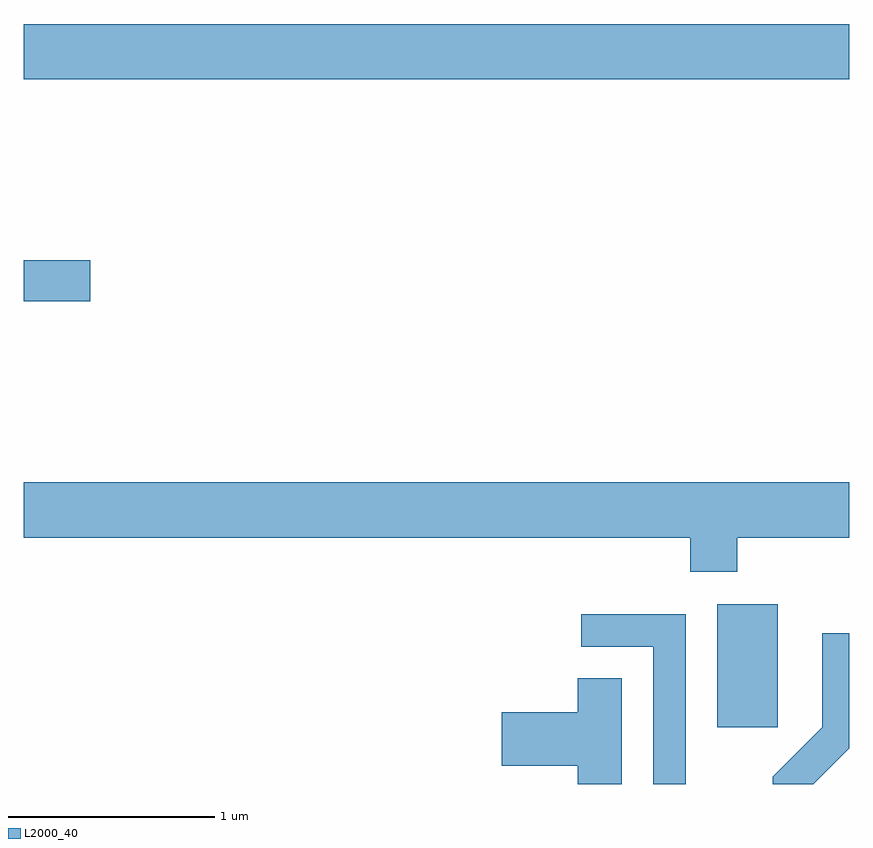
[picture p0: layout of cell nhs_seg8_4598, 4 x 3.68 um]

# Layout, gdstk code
import gdstk
lib = gdstk.Library(unit=1e-6, precision=1e-09)
def R(c, l, rs):  # rectangles x0, y0, x1, y1
    for r in rs: c.add(gdstk.rectangle(r[:2], r[2:], *l))
def P(c, l, *ps):  # polygons
    for p in ps: c.add(gdstk.Polygon(p, *l))
L2000_40 = (2000, 40)

nhs_seg8_4598 = lib.new_cell('nhs_seg8_4598')
R(nhs_seg8_4598, L2000_40, [(326.971,1826.616,327.264,1827.214), (323.611,1828.681,323.934,1828.879), (323.611,1829.756,327.611,1830.024)])
P(nhs_seg8_4598, L2000_40, [(327.069,1827.536),(327.611,1827.536),(327.611,1827.804),(323.611,1827.804),(323.611,1827.536),(326.841,1827.536),(326.841,1827.371),(327.069,1827.371)],
  [(326.819,1827.164),(326.313,1827.164),(326.313,1827.006),(326.661,1827.006),(326.661,1826.342),(326.819,1826.342)],
  [(327.611,1826.516),(327.611,1827.073),(327.481,1827.073),(327.481,1826.617),(327.241,1826.377),(327.241,1826.342),(327.437,1826.342)],
  [(326.509,1826.854),(326.296,1826.854),(326.296,1826.689),(325.926,1826.689),(325.926,1826.431),(326.296,1826.431),(326.296,1826.342),(326.509,1826.342)])

lib.write_gds('nhs_seg8_4598.gds')
